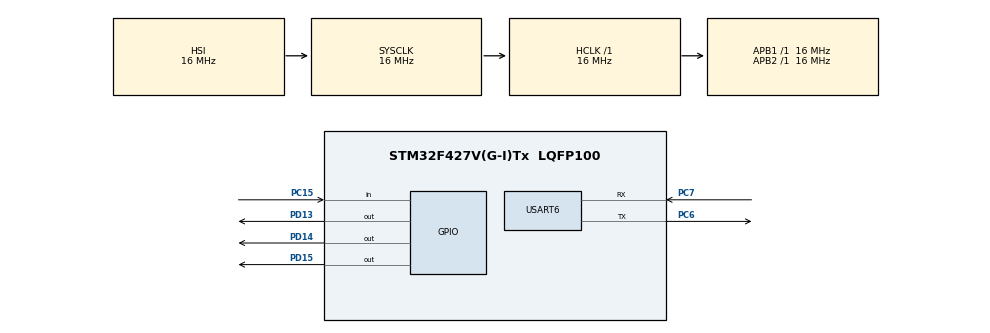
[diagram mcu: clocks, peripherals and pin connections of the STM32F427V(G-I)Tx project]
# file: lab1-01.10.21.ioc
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Mcu.Family=STM32F4
Mcu.Name=STM32F427V(G-I)Tx
Mcu.Package=LQFP100
NVIC.PriorityGroup=NVIC_PRIORITYGROUP_4
NVIC.USART6_IRQn=true\:0\:0\:false\:false\:true\:true\:true
PA13.Mode=JTAG_5_pins
PA13.Signal=SYS_JTMS-SWDIO
PA14.Mode=JTAG_5_pins
PA14.Signal=SYS_JTCK-SWCLK
PA15.Mode=JTAG_5_pins
PA15.Signal=SYS_JTDI
PB3.Mode=JTAG_5_pins
PB3.Signal=SYS_JTDO-SWO
PB4.Mode=JTAG_5_pins
PB4.Signal=SYS_JTRST
PC15/OSC32_OUT.Signal=GPIO_Input
PC6.Mode=Asynchronous
PC6.Signal=USART6_TX
PC7.Mode=Asynchronous
PC7.Signal=USART6_RX
PD13.Signal=GPIO_Output
PD14.Signal=GPIO_Output
PD15.Signal=GPIO_Output
ProjectManager.HeapSize=0x200
ProjectManager.StackSize=0x400
ProjectManager.TargetToolchain=STM32CubeIDE
RCC.AHBFreq_Value=16000000
RCC.APB1Freq_Value=16000000
RCC.APB2Freq_Value=16000000
RCC.CortexFreq_Value=16000000
RCC.HSE_VALUE=25000000
RCC.HSI_VALUE=16000000
RCC.LSE_VALUE=32768
RCC.SYSCLKFreq_VALUE=16000000
RCC.VCOOutputFreq_Value=192000000
USART6.VirtualMode=VM_ASYNC
board=custom

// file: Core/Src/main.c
/* USER CODE BEGIN Header */
/**
  ******************************************************************************
  * @file           : main.c
  * @brief          : Main program body
  ******************************************************************************
  * @attention
  *
  * <h2><center>&copy; Copyright (c) 2021 STMicroelectronics.
  * All rights reserved.</center></h2>
  *
  * This software component is licensed by ST under BSD 3-Clause license,
  * the "License"; You may not use this file except in compliance with the
  * License. You may obtain a copy of the License at:
  *                        opensource.org/licenses/BSD-3-Clause
  *
  ******************************************************************************
  */
/* USER CODE END Header */
#include "main.h"
#include "usart.h"
#include "gpio.h"

/* USER CODE BEGIN Includes */

#include <stdbool.h>
#include <string.h>
#include <ctype.h>
#include <stdio.h>
#include <stdarg.h>

/* USER CODE END Includes */

/* USER CODE BEGIN PTD */

const char OK_MSG[] = "OK";
char cmd[256];
uint32_t last_pressed_time = 0;
uint8_t prev_mode_n = 7;
uint8_t cur_mode_n = 1;
bool is_char_received = false;
bool use_interrupt = false;
bool is_transmitted = true;
char last_received_char;
uint8_t remaining_timeouts_input = 0;
uint8_t MODES_COUNT = 4;

enum LED {
    LED_NO_ONE = 0,
    LED_RED = 1,
    LED_GREEN = 2,
    LED_YELLOW = 3,
};

struct LightState {
    enum LED color;
    uint32_t timeout;
};

struct GarlandMode {
    uint8_t light_states_count;
    struct LightState states[8];
};

struct State {
    uint8_t state[8];
    uint32_t elapsed_state_time[8];
};

typedef void (* set_led_function)(bool);

/* USER CODE END PTD */

/* USER CODE BEGIN PD */
#define UART_TIMEOUT 10
/* USER CODE END PD */

void SystemClock_Config(void);

/* USER CODE BEGIN 0 */
void set_green_led(bool on) { HAL_GPIO_WritePin(GPIOD, GPIO_PIN_13, on ? GPIO_PIN_SET : GPIO_PIN_RESET); }

void set_yellow_led(bool on) { HAL_GPIO_WritePin(GPIOD, GPIO_PIN_14, on ? GPIO_PIN_SET : GPIO_PIN_RESET); }

void set_red_led(bool on) { HAL_GPIO_WritePin(GPIOD, GPIO_PIN_15, on ? GPIO_PIN_SET : GPIO_PIN_RESET); }

int is_btn_clicked() {
	// GPIO_PIN_RESET means pressed
	if (HAL_GPIO_ReadPin(GPIOC, GPIO_PIN_15) == GPIO_PIN_RESET && HAL_GetTick() - last_pressed_time > 1000) {
		last_pressed_time = HAL_GetTick();
		return 1;
	} else return 0;
}

void set_no_one_led(bool on) {}

const set_led_function led_functions[] = {
    [LED_NO_ONE] = set_no_one_led,
    [LED_RED] = set_red_led,
    [LED_GREEN] = set_green_led,
    [LED_YELLOW] = set_yellow_led,
};

struct GarlandMode modes[8] = {
		{
			.light_states_count = 2,
            .states = {
                {
                    .color = LED_YELLOW,
                    .timeout = 250,
                },
                {
                    .color = LED_GREEN,
                    .timeout = 250,
                },
            },
        },
        {
            .light_states_count = 6,
            .states = {
                {
                    .color = LED_RED,
                    .timeout = 250,
                },
                {
                    .color = LED_NO_ONE,
                    .timeout = 250,
                },
                {
                    .color = LED_YELLOW,
                    .timeout = 250,
                },
                {
                    .color = LED_NO_ONE,
                    .timeout = 250,
                },
                {
                    .color = LED_GREEN,
                    .timeout = 250,
                },
                {
                    .color = LED_NO_ONE,
                    .timeout = 250,
                },
            },
        },
        {
            .light_states_count = 4,
            .states = {
                {
                    .color = LED_GREEN,
                    .timeout = 400,
                },
                {
                    .color = LED_NO_ONE,
                    .timeout = 250,
                },
                {
                    .color = LED_RED,
                    .timeout = 400,
                },
                {
                    .color = LED_NO_ONE,
                    .timeout = 250,
                },
            },
        },
        {
            .light_states_count = 6,
            .states = {
                {
                    .color = LED_RED,
                    .timeout = 3000,
                },
                {
                    .color = LED_NO_ONE,
                    .timeout = 1000,
                },
                {
                    .color = LED_YELLOW,
                    .timeout = 3000,
                },
                {
                    .color = LED_NO_ONE,
                    .timeout = 1000,
                },
                {
                    .color = LED_GREEN,
                    .timeout = 3000,
                },
                {
                    .color = LED_NO_ONE,
                    .timeout = 1000,
                },
            },
        }
    };

struct GarlandMode new_mode;

struct State state = {
    .state = { 0 },
    .elapsed_state_time = { 0 },
};

void print(const char * content) {
	if (use_interrupt) {
		while (!is_transmitted);
		is_transmitted = false;
		HAL_UART_Transmit_IT(&huart6, (void *) content, strlen(content));
	} else HAL_UART_Transmit(&huart6, (void *) content, strlen(content), UART_TIMEOUT);
}

void println(const char * message) {
	print(message);
	print("\r\n");
}

void print_format(const char * format, ...) {
	static char buffer[1024];
	if (use_interrupt) while (!is_transmitted);
	va_list ap;
	va_start(ap, format);
	vsnprintf(buffer, sizeof(buffer), format, ap);
	va_end(ap);
	println(buffer);
}

bool string_equals(const char * a, const char * b) { return strcmp(a, b) == 0; }

bool starts_with(const char * prefix, const char * str) { return strncmp(prefix, str, strlen(prefix)) == 0; }

void set_active_mode(uint8_t mode_number) {
	led_functions[modes[cur_mode_n].states[state.state[cur_mode_n]].color](false);
	cur_mode_n = mode_number;
	if (modes[cur_mode_n].light_states_count > 0) led_functions[modes[cur_mode_n].states[state.state[cur_mode_n]].color](true);
}

bool handle_set_command() {
	const char * const mode_idx_str = cmd + 4;
	uint32_t mode_idx;
	if ((sscanf(mode_idx_str, "%lu", &mode_idx) != 1) || (mode_idx < 1 || mode_idx > MODES_COUNT)) return false;
	set_active_mode(mode_idx - 1);
	return true;
}

bool handle_new_command() {
	const char* const pattern = cmd + 4; // set pointer after 'new '
	const uint32_t pattern_length = strlen(pattern);
	if (pattern_length < 2 || pattern_length > 8) return false;
	new_mode.light_states_count = pattern_length;
	for (uint8_t i = 0; i < pattern_length; ++i)
		switch (pattern[i]) {
			case 'n':
				new_mode.states[i].color = LED_NO_ONE;
				break;
			case 'r':
				new_mode.states[i].color = LED_RED;
				break;
			case 'g':
				new_mode.states[i].color = LED_GREEN;
				break;
			case 'y':
				new_mode.states[i].color = LED_YELLOW;
				break;
			default:
				return false;
		}
	remaining_timeouts_input = pattern_length;
	print_format("print %d light on timeout in millis:\r\n", pattern_length);
	return true;
}

bool handle_new_command_timeout() {
	const uint8_t state_idx = new_mode.light_states_count - remaining_timeouts_input;
	if (sscanf(cmd, "%lu", &(new_mode.states[state_idx].timeout)) != 1) return false;
	--remaining_timeouts_input;
	if (remaining_timeouts_input == 0) {
		const uint8_t available_mode_idxs = sizeof(modes) / sizeof(*(modes)) - MODES_COUNT;
		const uint8_t mode_idx = MODES_COUNT + (prev_mode_n - MODES_COUNT + 1) % available_mode_idxs;
		if (MODES_COUNT <= mode_idx) MODES_COUNT = mode_idx + 1;
		prev_mode_n = mode_idx;
		memcpy(modes + mode_idx, &(new_mode), sizeof(new_mode));
		print_format("Written in mode %d\r\n", mode_idx + 1);
		return true;
	}
	print_format("%d timeouts remaining:\r\n", remaining_timeouts_input);
	return true;
}

void handle_command_line() {
	bool cmd_exec_stat = false;
	if (strlen(cmd) != 0) {
		if (string_equals("set interrupts on", cmd)) {
			use_interrupt = true;
			cmd_exec_stat = true;
		}
		else if (string_equals("set interrupts off", cmd)) {
			use_interrupt = false;
			cmd_exec_stat = true;
		}
		else if (starts_with("set ", cmd)) cmd_exec_stat = handle_set_command(state);
		else if (starts_with("new ", cmd)) {
			handle_new_command(state);
			return;
		}
		else if (remaining_timeouts_input > 0) cmd_exec_stat = handle_new_command_timeout();
		else cmd_exec_stat = false;
		println((cmd_exec_stat) ? OK_MSG : "bad command");
	}
}

void readln() {
    if (use_interrupt) {
        if (!is_char_received) {
            HAL_UART_Receive_IT(&huart6, (void *) &last_received_char, sizeof(last_received_char));
            return;
        }
    } else if (HAL_UART_Receive(&huart6, (void *) &last_received_char, sizeof(last_received_char), UART_TIMEOUT) != HAL_OK) return;
	is_char_received = false;
    print(&last_received_char);
    switch (last_received_char) {
    	case '\b':
    	case 0x7F: {
    	    const uint8_t cmd_len = strlen(cmd);
    	    if (cmd_len > 0) cmd[cmd_len - 1] = '\0';
    		return;
    	}
    	case '\r':
    	    println("\n");
    		handle_command_line(state);
        	memset(cmd, '\0', sizeof(cmd));
    		return;
    }
    const uint32_t command_line_length = strlen(cmd);
    // overflow
    if (command_line_length == sizeof(cmd) - 1) {
    	println("\r\n invalid command");
    	memset(cmd, '\0', sizeof(cmd));
    	return;
    }
    cmd[command_line_length] = last_received_char;
}

void HAL_UART_RxCpltCallback(UART_HandleTypeDef *huart) { is_char_received = true; }

void HAL_UART_TxCpltCallback(UART_HandleTypeDef *huart) { is_transmitted = true; }

/* USER CODE END 0 */

int main(void)
{

  /* MCU Configuration--------------------------------------------------------*/

  /* Reset of all peripherals, Initializes the Flash interface and the Systick. */
  HAL_Init();

  /* Configure the system clock */
  SystemClock_Config();

  /* Initialize all configured peripherals */
  MX_GPIO_Init();
  MX_USART6_UART_Init();
  /* Infinite loop */
  /* USER CODE BEGIN WHILE */
    uint32_t current_time = HAL_GetTick();
    while (1) {
        if (is_btn_clicked()) set_active_mode((cur_mode_n + 1) % MODES_COUNT);
        readln();
        state.elapsed_state_time[cur_mode_n] += HAL_GetTick() - current_time;
        current_time = HAL_GetTick();
        const struct GarlandMode* current_mode = modes + cur_mode_n;
        if (current_mode->light_states_count == 0) continue;
        const struct LightState* current_state = current_mode->states + state.state[cur_mode_n];
        if (state.elapsed_state_time[cur_mode_n] >= current_state->timeout) {
            led_functions[current_state->color](false);
            state.elapsed_state_time[cur_mode_n] = 0;
            state.state[cur_mode_n] = (state.state[cur_mode_n] + 1) % current_mode->light_states_count;
            led_functions[current_mode->states[state.state[cur_mode_n]].color](true);
        }
    /* USER CODE END WHILE */

    }
}

void SystemClock_Config(void)
{
  RCC_OscInitTypeDef RCC_OscInitStruct = {0};
  RCC_ClkInitTypeDef RCC_ClkInitStruct = {0};

  /** Configure the main internal regulator output voltage
  */
  __HAL_RCC_PWR_CLK_ENABLE();
  __HAL_PWR_VOLTAGESCALING_CONFIG(PWR_REGULATOR_VOLTAGE_SCALE3);
  /** Initializes the RCC Oscillators according to the specified parameters
  * in the RCC_OscInitTypeDef structure.
  */
  RCC_OscInitStruct.OscillatorType = RCC_OSCILLATORTYPE_HSI;
  RCC_OscInitStruct.HSIState = RCC_HSI_ON;
  RCC_OscInitStruct.HSICalibrationValue = RCC_HSICALIBRATION_DEFAULT;
  RCC_OscInitStruct.PLL.PLLState = RCC_PLL_NONE;
  if (HAL_RCC_OscConfig(&RCC_OscInitStruct) != HAL_OK)
  {
    Error_Handler();
  }
  /** Initializes the CPU, AHB and APB buses clocks
  */
  RCC_ClkInitStruct.ClockType = RCC_CLOCKTYPE_HCLK|RCC_CLOCKTYPE_SYSCLK
                              |RCC_CLOCKTYPE_PCLK1|RCC_CLOCKTYPE_PCLK2;
  RCC_ClkInitStruct.SYSCLKSource = RCC_SYSCLKSOURCE_HSI;
  RCC_ClkInitStruct.AHBCLKDivider = RCC_SYSCLK_DIV1;
  RCC_ClkInitStruct.APB1CLKDivider = RCC_HCLK_DIV1;
  RCC_ClkInitStruct.APB2CLKDivider = RCC_HCLK_DIV1;

  if (HAL_RCC_ClockConfig(&RCC_ClkInitStruct, FLASH_LATENCY_0) != HAL_OK)
  {
    Error_Handler();
  }
}

void Error_Handler(void)
{
}

/************************ (C) COPYRIGHT STMicroelectronics *****END OF FILE****/
